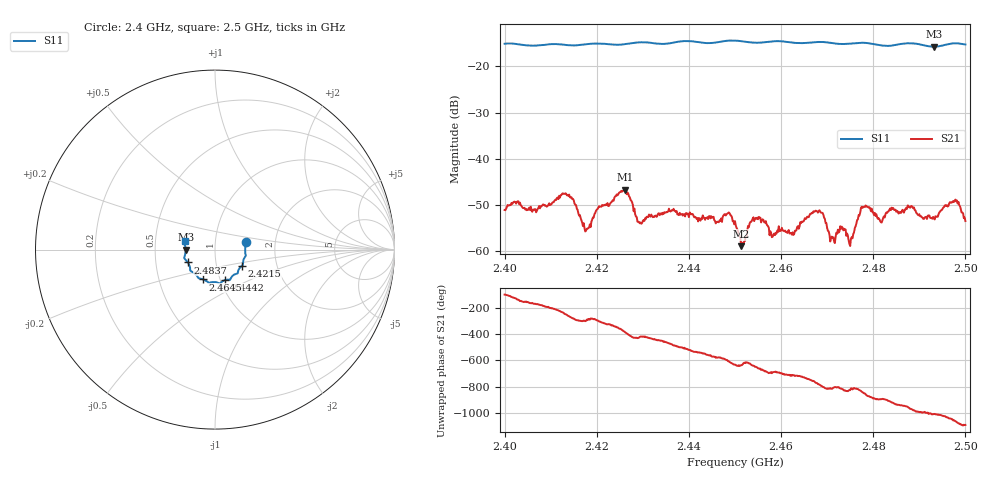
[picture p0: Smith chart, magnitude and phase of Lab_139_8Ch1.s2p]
# Hz S RI R 50
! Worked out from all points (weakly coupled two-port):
!   601 points, 2.4 GHz to 2.5 GHz, reference 50 ohm
!   highest |S21| = -46.65 dB at 2.4262 GHz (marker M1); lowest = -58.9 dB at 2.4513 GHz (marker M2)
!   lowest |S11| = -15.7 dB at 2.4932 GHz (marker M3), VSWR 1.39, Z = 36 - j0.0488 ohm
!   |S11| at or under -10 dB: start of sweep to end of sweep
!   S12 and S22 are empty: the file has one direction only
!   S11 on the Smith chart (normalised r, x): 2.4 GHz: 1.41, +0.12; 2.4215 GHz: 1.33, -0.25; 2.4442 GHz: 1.05, -0.37; 2.4645 GHz: 0.83, -0.29; 2.4837 GHz: 0.73, -0.11; 2.5 GHz: 0.71, +0.07
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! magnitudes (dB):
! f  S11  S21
! 2.4 GHz  -15.1  -51.0
! 2.413 GHz  -15.3  -47.6
! 2.4167 GHz  -15.3  -53.3
! 2.4178 GHz  -15.2  -55.1
! 2.4215 GHz  -15.1  -50.1
! 2.4262 GHz  -15.2  -46.6
! 2.4293 GHz  -14.8  -53.9
! 2.4333 GHz  -15.1  -51.8
! 2.4442 GHz  -15.0  -53.0
! 2.45 GHz  -14.4  -53.4
! 2.4513 GHz  -14.5  -58.9
! 2.4543 GHz  -14.9  -52.9
! 2.4585 GHz  -14.5  -56.1
! 2.4645 GHz  -15.0  -53.5
! 2.4667 GHz  -14.8  -51.7
! 2.475 GHz  -15.1  -58.8
! 2.4778 GHz  -14.9  -50.4
! 2.4833 GHz  -15.6  -51.3
! 2.4837 GHz  -15.5  -50.7
! 2.4932 GHz  -15.7  -52.8
! 2.4977 GHz  -15.0  -49.0
! 2.5 GHz  -15.3  -53.4
